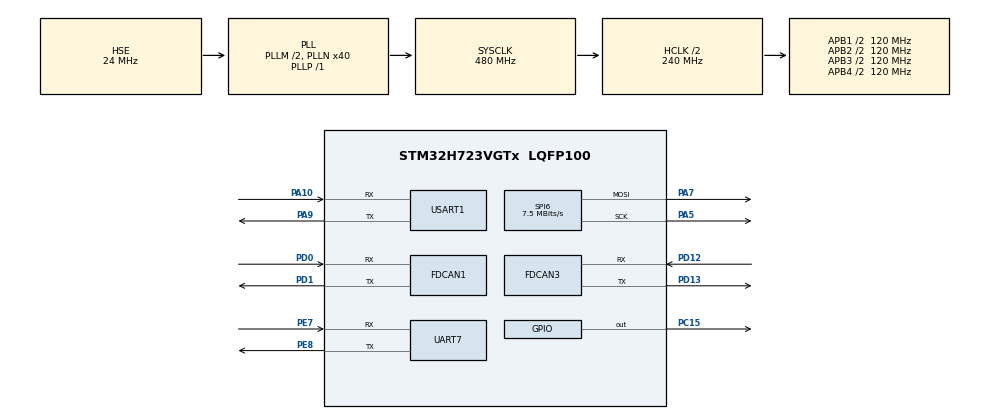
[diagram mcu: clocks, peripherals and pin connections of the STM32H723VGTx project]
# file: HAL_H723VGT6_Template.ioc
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Bdma.Request0=SPI6_TX
Bdma.RequestsNb=1
Bdma.SPI6_TX.0.Direction=DMA_MEMORY_TO_PERIPH
Bdma.SPI6_TX.0.EventEnable=DISABLE
Bdma.SPI6_TX.0.Instance=BDMA_Channel0
Bdma.SPI6_TX.0.MemDataAlignment=DMA_MDATAALIGN_BYTE
Bdma.SPI6_TX.0.MemInc=DMA_MINC_ENABLE
Bdma.SPI6_TX.0.Mode=DMA_NORMAL
Bdma.SPI6_TX.0.PeriphDataAlignment=DMA_PDATAALIGN_BYTE
Bdma.SPI6_TX.0.PeriphInc=DMA_PINC_DISABLE
Bdma.SPI6_TX.0.Polarity=HAL_DMAMUX_REQ_GEN_RISING
Bdma.SPI6_TX.0.Priority=DMA_PRIORITY_LOW
Bdma.SPI6_TX.0.RequestNumber=1
Bdma.SPI6_TX.0.SignalID=NONE
Bdma.SPI6_TX.0.SyncEnable=DISABLE
Bdma.SPI6_TX.0.SyncPolarity=HAL_DMAMUX_SYNC_NO_EVENT
Bdma.SPI6_TX.0.SyncRequestNumber=1
Bdma.SPI6_TX.0.SyncSignalID=NONE
CORTEX_M7.default_mode_Activation=1
Dma.Request0=USART1_RX
Dma.Request1=UART7_RX
Dma.UART7_RX.1.Direction=DMA_PERIPH_TO_MEMORY
Dma.UART7_RX.1.EventEnable=DISABLE
Dma.UART7_RX.1.FIFOMode=DMA_FIFOMODE_DISABLE
Dma.UART7_RX.1.Instance=DMA1_Stream1
Dma.UART7_RX.1.MemDataAlignment=DMA_MDATAALIGN_BYTE
Dma.UART7_RX.1.MemInc=DMA_MINC_ENABLE
Dma.UART7_RX.1.Mode=DMA_NORMAL
Dma.UART7_RX.1.PeriphDataAlignment=DMA_PDATAALIGN_BYTE
Dma.UART7_RX.1.PeriphInc=DMA_PINC_DISABLE
Dma.UART7_RX.1.Polarity=HAL_DMAMUX_REQ_GEN_RISING
Dma.UART7_RX.1.Priority=DMA_PRIORITY_LOW
Dma.UART7_RX.1.RequestNumber=1
Dma.UART7_RX.1.SignalID=NONE
Dma.UART7_RX.1.SyncEnable=DISABLE
Dma.UART7_RX.1.SyncPolarity=HAL_DMAMUX_SYNC_NO_EVENT
Dma.UART7_RX.1.SyncRequestNumber=1
Dma.UART7_RX.1.SyncSignalID=NONE
Dma.USART1_RX.0.Direction=DMA_PERIPH_TO_MEMORY
Dma.USART1_RX.0.EventEnable=DISABLE
Dma.USART1_RX.0.FIFOMode=DMA_FIFOMODE_DISABLE
Dma.USART1_RX.0.Instance=DMA1_Stream0
Dma.USART1_RX.0.MemDataAlignment=DMA_MDATAALIGN_BYTE
Dma.USART1_RX.0.MemInc=DMA_MINC_ENABLE
Dma.USART1_RX.0.Mode=DMA_NORMAL
Dma.USART1_RX.0.PeriphDataAlignment=DMA_PDATAALIGN_BYTE
Dma.USART1_RX.0.PeriphInc=DMA_PINC_DISABLE
Dma.USART1_RX.0.Polarity=HAL_DMAMUX_REQ_GEN_RISING
Dma.USART1_RX.0.Priority=DMA_PRIORITY_LOW
Dma.USART1_RX.0.RequestNumber=1
Dma.USART1_RX.0.SignalID=NONE
Dma.USART1_RX.0.SyncEnable=DISABLE
Dma.USART1_RX.0.SyncPolarity=HAL_DMAMUX_SYNC_NO_EVENT
Dma.USART1_RX.0.SyncRequestNumber=1
Dma.USART1_RX.0.SyncSignalID=NONE
FDCAN1.AutoRetransmission=ENABLE
FDCAN1.CalculateBaudRateNominal=1000000
FDCAN1.CalculateTimeBitNominal=1000
FDCAN1.CalculateTimeQuantumNominal=83.33333333333333
FDCAN1.NominalPrescaler=2
FDCAN1.NominalTimeSeg1=8
FDCAN1.NominalTimeSeg2=3
FDCAN1.RxFifo0ElmtsNbr=8
FDCAN1.StdFiltersNbr=1
FDCAN1.TxFifoQueueElmtsNbr=8
FDCAN3.AutoRetransmission=ENABLE
FDCAN3.CalculateBaudRateNominal=1000000
FDCAN3.CalculateTimeBitNominal=1000
FDCAN3.CalculateTimeQuantumNominal=83.33333333333333
FDCAN3.NominalPrescaler=2
FDCAN3.NominalTimeSeg1=8
FDCAN3.NominalTimeSeg2=3
FDCAN3.RxFifo0ElmtsNbr=8
FDCAN3.StdFiltersNbr=1
FDCAN3.TxFifoQueueElmtsNbr=8
Mcu.Family=STM32H7
Mcu.Name=STM32H723VGTx
Mcu.Package=LQFP100
NVIC.BDMA_Channel0_IRQn=true\:0\:0\:false\:false\:true\:false\:true\:true
NVIC.DMA1_Stream0_IRQn=true\:0\:0\:false\:false\:true\:false\:true\:true
NVIC.DMA1_Stream1_IRQn=true\:0\:0\:false\:false\:true\:false\:true\:true
NVIC.FDCAN1_IT0_IRQn=true\:1\:0\:true\:false\:true\:true\:true\:true
NVIC.FDCAN3_IT0_IRQn=true\:0\:0\:false\:false\:true\:true\:true\:true
NVIC.PriorityGroup=NVIC_PRIORITYGROUP_2
NVIC.SPI6_IRQn=true\:3\:3\:true\:false\:true\:false\:true\:true
NVIC.TIM4_IRQn=true\:0\:0\:false\:false\:true\:true\:true\:true
NVIC.UART7_IRQn=true\:0\:0\:false\:false\:true\:true\:true\:true
NVIC.USART1_IRQn=true\:2\:2\:true\:false\:true\:true\:true\:true
PA10.Mode=Asynchronous
PA10.Signal=USART1_RX
PA13(JTMS/SWDIO).Mode=Serial_Wire
PA13(JTMS/SWDIO).Signal=DEBUG_JTMS-SWDIO
PA14(JTCK/SWCLK).Mode=Serial_Wire
PA14(JTCK/SWCLK).Signal=DEBUG_JTCK-SWCLK
PA5.Mode=TX_Only_Simplex_Unidirect_Master
PA5.Signal=SPI6_SCK
PA7.Mode=TX_Only_Simplex_Unidirect_Master
PA7.Signal=SPI6_MOSI
PA9.Mode=Asynchronous
PA9.Signal=USART1_TX
PC15-OSC32_OUT.GPIO_PuPd=GPIO_PULLDOWN
PC15-OSC32_OUT.PinState=GPIO_PIN_RESET
PC15-OSC32_OUT.Signal=GPIO_Output
PD0.Mode=FDCAN_Activate
PD0.Signal=FDCAN1_RX
PD1.Mode=FDCAN_Activate
PD1.Signal=FDCAN1_TX
PD12.Mode=FDCAN_Activate
PD12.Signal=FDCAN3_RX
PD13.Mode=FDCAN_Activate
PD13.Signal=FDCAN3_TX
PE7.Mode=Asynchronous
PE7.Signal=UART7_RX
PE8.Mode=Asynchronous
PE8.Signal=UART7_TX
PH0-OSC_IN.Mode=HSE-External-Oscillator
PH0-OSC_IN.Signal=RCC_OSC_IN
PH1-OSC_OUT.Mode=HSE-External-Oscillator
PH1-OSC_OUT.Signal=RCC_OSC_OUT
ProjectManager.HeapSize=0x200
ProjectManager.StackSize=0x400
ProjectManager.TargetToolchain=MDK-ARM V5.32
RCC.ADCFreq_Value=48375000
RCC.APB1Freq_Value=120000000
RCC.APB2Freq_Value=120000000
RCC.APB3Freq_Value=120000000
RCC.APB4Freq_Value=120000000
RCC.CortexFreq_Value=480000000
RCC.D1PPRE=RCC_APB3_DIV2
RCC.D2PPRE1=RCC_APB1_DIV2
RCC.D2PPRE2=RCC_APB2_DIV2
RCC.D3PPRE=RCC_APB4_DIV2
RCC.DIVM1=2
RCC.DIVN1=40
RCC.DIVP1=1
RCC.FDCANCLockSelection=RCC_FDCANCLKSOURCE_HSE
RCC.HCLKFreq_Value=240000000
RCC.HPRE=RCC_HCLK_DIV2
RCC.HSE_VALUE=24000000
RCC.PLLFRACN=0
RCC.PLLSourceVirtual=RCC_PLLSOURCE_HSE
RCC.SYSCLKFreq_VALUE=480000000
RCC.SYSCLKSource=RCC_SYSCLKSOURCE_PLLCLK
RCC.USBFreq_Value=240000000
SPI6.BaudRatePrescaler=SPI_BAUDRATEPRESCALER_16
SPI6.CLKPhase=SPI_PHASE_2EDGE
SPI6.CalculateBaudRate=7.5 MBits/s
SPI6.DataSize=SPI_DATASIZE_8BIT
SPI6.Direction=SPI_DIRECTION_2LINES_TXONLY
SPI6.Mode=SPI_MODE_MASTER
SPI6.NSSPMode=SPI_NSS_PULSE_DISABLE
SPI6.VirtualType=VM_MASTER
TIM4.AutoReloadPreload=TIM_AUTORELOAD_PRELOAD_ENABLE
TIM4.Period=999
TIM4.Prescaler=239
USART1.VirtualMode-Asynchronous=VM_ASYNC
VP_MEMORYMAP_VS_MEMORYMAP.Mode=CurAppReg
VP_TIM4_VS_ClockSourceINT.Mode=Internal
board=custom

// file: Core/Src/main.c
/* USER CODE BEGIN Header */
/**
  ******************************************************************************
  * @file           : main.c
  * @brief          : Main program body
  ******************************************************************************
  * @attention
  *
  * Copyright (c) 2026 STMicroelectronics.
  * All rights reserved.
  *
  * This software is licensed under terms that can be found in the LICENSE file
  * in the root directory of this software component.
  * If no LICENSE file comes with this software, it is provided AS-IS.
  *
  ******************************************************************************
  */
/* USER CODE END Header */
#include "main.h"

/* USER CODE BEGIN Includes */
#include <stdlib.h>
#include <stdio.h>
#include "2812LED.h"
#include "CAN.h"
#include "Time.h"
#include "DM_BLDC_Motor.h"
#include "UART_Data.h"
#include "FourMotor_Coordination.h"
#include "DM_IMU_L1_V1.0.h"
#include "Chassis.h"
#include "Attitude.h"
#include "Nav.h"
#include "Debug.h"

/* USER CODE END Includes */

FDCAN_HandleTypeDef hfdcan1;
FDCAN_HandleTypeDef hfdcan3;

SPI_HandleTypeDef hspi6;
DMA_HandleTypeDef hdma_spi6_tx;

TIM_HandleTypeDef htim4;

UART_HandleTypeDef huart7;
UART_HandleTypeDef huart1;
DMA_HandleTypeDef hdma_uart7_rx;
DMA_HandleTypeDef hdma_usart1_rx;

void SystemClock_Config(void);
static void MPU_Config(void);
static void MX_GPIO_Init(void);
static void MX_BDMA_Init(void);
static void MX_DMA_Init(void);
static void MX_SPI6_Init(void);
static void MX_FDCAN1_Init(void);
static void MX_USART1_UART_Init(void);
static void MX_TIM4_Init(void);
static void MX_FDCAN3_Init(void);
static void MX_UART7_Init(void);

int main(void)
{

  /* MPU Configuration--------------------------------------------------------*/
  MPU_Config();

  /* MCU Configuration--------------------------------------------------------*/

  /* Reset of all peripherals, Initializes the Flash interface and the Systick. */
  HAL_Init();

  /* Configure the system clock */
  SystemClock_Config();

  /* Initialize all configured peripherals */
  MX_GPIO_Init();
  MX_BDMA_Init();
  MX_DMA_Init();
  MX_SPI6_Init();
  MX_FDCAN1_Init();
  MX_USART1_UART_Init();
  MX_TIM4_Init();
  MX_FDCAN3_Init();
  MX_UART7_Init();
  /* USER CODE BEGIN 2 */
	//电机初始化
	DM_CAN_Motor_Init();
	DM_IMU_Init();

	//底盘 / 姿态 / 导航 / 调试 初始化
	Chassis_Init();
	Attitude_Init();
	Nav_Init();
	Debug_Init();
	UART_Init();

	//外部VCC供电
	HAL_GPIO_WritePin(GPIOC,GPIO_PIN_15,GPIO_PIN_SET);

	//静止标定陀螺 z 轴零偏 (这 400ms 车必须完全不动)
	Attitude_Calibrate(400);

	//开 1ms 节拍, 之后 5ms 控制自动跑
	Time_Init();

	//电机失能
	DM_CAN_Motor_SetEnable(DM_Motor_4310P_ID,DM_Mototr_Disable);
	DM_CAN_Motor_SetEnable(DM_Motor_4310_ID,DM_Mototr_Disable);
	DM_CAN_Motor_SetEnable(DM_Motor_4310P_Next_ID,DM_Mototr_Disable);
	DM_CAN_Motor_SetEnable(DM_Motor_4310_Next_ID,DM_Mototr_Disable);
	DM_CAN_Motor_SetEnable(DM_Motor_4340_Yaw_ID,DM_Mototr_Disable);
	HAL_Delay(1000);
	//电机使能
	DM_CAN_Motor_SetEnable(DM_Motor_4310P_ID,DM_Mototr_Enable);
	DM_CAN_Motor_SetEnable(DM_Motor_4310_ID,DM_Mototr_Enable);
	DM_CAN_Motor_SetEnable(DM_Motor_4310P_Next_ID,DM_Mototr_Enable);
	DM_CAN_Motor_SetEnable(DM_Motor_4310_Next_ID,DM_Mototr_Enable);
	DM_CAN_Motor_SetEnable(DM_Motor_4340_Yaw_ID,DM_Mototr_Enable);

	//位姿置到下方启停区中心 (row45,col45), 上电时车头须朝地图上方(+y)
	Nav_ResetPose(45, 45);

	printf("\r\n# 工创小车底盘就绪, 输入 ? 看命令\r\n");
  /* USER CODE END 2 */

  /* Infinite loop */
  /* USER CODE BEGIN WHILE */
	while (1)
	{
		Debug_Task();
    /* USER CODE END WHILE */

  }
}

void SystemClock_Config(void)
{
  RCC_OscInitTypeDef RCC_OscInitStruct = {0};
  RCC_ClkInitTypeDef RCC_ClkInitStruct = {0};

  /** Supply configuration update enable
  */
  HAL_PWREx_ConfigSupply(PWR_LDO_SUPPLY);

  /** Configure the main internal regulator output voltage
  */
  __HAL_PWR_VOLTAGESCALING_CONFIG(PWR_REGULATOR_VOLTAGE_SCALE0);

  while(!__HAL_PWR_GET_FLAG(PWR_FLAG_VOSRDY)) {}

  /** Initializes the RCC Oscillators according to the specified parameters
  * in the RCC_OscInitTypeDef structure.
  */
  RCC_OscInitStruct.OscillatorType = RCC_OSCILLATORTYPE_HSE;
  RCC_OscInitStruct.HSEState = RCC_HSE_ON;
  RCC_OscInitStruct.PLL.PLLState = RCC_PLL_ON;
  RCC_OscInitStruct.PLL.PLLSource = RCC_PLLSOURCE_HSE;
  RCC_OscInitStruct.PLL.PLLM = 2;
  RCC_OscInitStruct.PLL.PLLN = 40;
  RCC_OscInitStruct.PLL.PLLP = 1;
  RCC_OscInitStruct.PLL.PLLQ = 2;
  RCC_OscInitStruct.PLL.PLLR = 2;
  RCC_OscInitStruct.PLL.PLLRGE = RCC_PLL1VCIRANGE_3;
  RCC_OscInitStruct.PLL.PLLVCOSEL = RCC_PLL1VCOWIDE;
  RCC_OscInitStruct.PLL.PLLFRACN = 0;
  if (HAL_RCC_OscConfig(&RCC_OscInitStruct) != HAL_OK)
  {
    Error_Handler();
  }

  /** Initializes the CPU, AHB and APB buses clocks
  */
  RCC_ClkInitStruct.ClockType = RCC_CLOCKTYPE_HCLK|RCC_CLOCKTYPE_SYSCLK
                              |RCC_CLOCKTYPE_PCLK1|RCC_CLOCKTYPE_PCLK2
                              |RCC_CLOCKTYPE_D3PCLK1|RCC_CLOCKTYPE_D1PCLK1;
  RCC_ClkInitStruct.SYSCLKSource = RCC_SYSCLKSOURCE_PLLCLK;
  RCC_ClkInitStruct.SYSCLKDivider = RCC_SYSCLK_DIV1;
  RCC_ClkInitStruct.AHBCLKDivider = RCC_HCLK_DIV2;
  RCC_ClkInitStruct.APB3CLKDivider = RCC_APB3_DIV2;
  RCC_ClkInitStruct.APB1CLKDivider = RCC_APB1_DIV2;
  RCC_ClkInitStruct.APB2CLKDivider = RCC_APB2_DIV2;
  RCC_ClkInitStruct.APB4CLKDivider = RCC_APB4_DIV2;

  if (HAL_RCC_ClockConfig(&RCC_ClkInitStruct, FLASH_LATENCY_3) != HAL_OK)
  {
    Error_Handler();
  }
}

static void MX_FDCAN1_Init(void)
{

  hfdcan1.Instance = FDCAN1;
  hfdcan1.Init.FrameFormat = FDCAN_FRAME_CLASSIC;
  hfdcan1.Init.Mode = FDCAN_MODE_NORMAL;
  hfdcan1.Init.AutoRetransmission = ENABLE;
  hfdcan1.Init.TransmitPause = DISABLE;
  hfdcan1.Init.ProtocolException = DISABLE;
  hfdcan1.Init.NominalPrescaler = 2;
  hfdcan1.Init.NominalSyncJumpWidth = 1;
  hfdcan1.Init.NominalTimeSeg1 = 8;
  hfdcan1.Init.NominalTimeSeg2 = 3;
  hfdcan1.Init.DataPrescaler = 1;
  hfdcan1.Init.DataSyncJumpWidth = 1;
  hfdcan1.Init.DataTimeSeg1 = 1;
  hfdcan1.Init.DataTimeSeg2 = 1;
  hfdcan1.Init.MessageRAMOffset = 0;
  hfdcan1.Init.StdFiltersNbr = 1;
  hfdcan1.Init.ExtFiltersNbr = 0;
  hfdcan1.Init.RxFifo0ElmtsNbr = 8;
  hfdcan1.Init.RxFifo0ElmtSize = FDCAN_DATA_BYTES_8;
  hfdcan1.Init.RxFifo1ElmtsNbr = 0;
  hfdcan1.Init.RxFifo1ElmtSize = FDCAN_DATA_BYTES_8;
  hfdcan1.Init.RxBuffersNbr = 0;
  hfdcan1.Init.RxBufferSize = FDCAN_DATA_BYTES_8;
  hfdcan1.Init.TxEventsNbr = 0;
  hfdcan1.Init.TxBuffersNbr = 0;
  hfdcan1.Init.TxFifoQueueElmtsNbr = 8;
  hfdcan1.Init.TxFifoQueueMode = FDCAN_TX_FIFO_OPERATION;
  hfdcan1.Init.TxElmtSize = FDCAN_DATA_BYTES_8;
  if (HAL_FDCAN_Init(&hfdcan1) != HAL_OK)
  {
    Error_Handler();
  }
  /* USER CODE BEGIN FDCAN1_Init 2 */
	//过滤器配置
	HAL_FDCAN_ConfigGlobalFilter(&hfdcan1, FDCAN_ACCEPT_IN_RX_FIFO0, FDCAN_ACCEPT_IN_RX_FIFO0, FDCAN_REJECT, FDCAN_REJECT);
  //启动FDCAN外设
	HAL_FDCAN_Start(&hfdcan1);
	//开启中断接收
  HAL_FDCAN_ActivateNotification(&hfdcan1, FDCAN_IT_RX_FIFO0_NEW_MESSAGE, 0);

  /* USER CODE END FDCAN1_Init 2 */

}

static void MX_FDCAN3_Init(void)
{

  hfdcan3.Instance = FDCAN3;
  hfdcan3.Init.FrameFormat = FDCAN_FRAME_CLASSIC;
  hfdcan3.Init.Mode = FDCAN_MODE_NORMAL;
  hfdcan3.Init.AutoRetransmission = ENABLE;
  hfdcan3.Init.TransmitPause = DISABLE;
  hfdcan3.Init.ProtocolException = DISABLE;
  hfdcan3.Init.NominalPrescaler = 2;
  hfdcan3.Init.NominalSyncJumpWidth = 1;
  hfdcan3.Init.NominalTimeSeg1 = 8;
  hfdcan3.Init.NominalTimeSeg2 = 3;
  hfdcan3.Init.DataPrescaler = 1;
  hfdcan3.Init.DataSyncJumpWidth = 1;
  hfdcan3.Init.DataTimeSeg1 = 1;
  hfdcan3.Init.DataTimeSeg2 = 1;
  hfdcan3.Init.MessageRAMOffset = 0;
  hfdcan3.Init.StdFiltersNbr = 1;
  hfdcan3.Init.ExtFiltersNbr = 0;
  hfdcan3.Init.RxFifo0ElmtsNbr = 8;
  hfdcan3.Init.RxFifo0ElmtSize = FDCAN_DATA_BYTES_8;
  hfdcan3.Init.RxFifo1ElmtsNbr = 0;
  hfdcan3.Init.RxFifo1ElmtSize = FDCAN_DATA_BYTES_8;
  hfdcan3.Init.RxBuffersNbr = 0;
  hfdcan3.Init.RxBufferSize = FDCAN_DATA_BYTES_8;
  hfdcan3.Init.TxEventsNbr = 0;
  hfdcan3.Init.TxBuffersNbr = 0;
  hfdcan3.Init.TxFifoQueueElmtsNbr = 8;
  hfdcan3.Init.TxFifoQueueMode = FDCAN_TX_FIFO_OPERATION;
  hfdcan3.Init.TxElmtSize = FDCAN_DATA_BYTES_8;
  if (HAL_FDCAN_Init(&hfdcan3) != HAL_OK)
  {
    Error_Handler();
  }
  /* USER CODE BEGIN FDCAN3_Init 2 */
	//过滤器配置
	HAL_FDCAN_ConfigGlobalFilter(&hfdcan3, FDCAN_ACCEPT_IN_RX_FIFO0, FDCAN_ACCEPT_IN_RX_FIFO0, FDCAN_REJECT, FDCAN_REJECT);
  //启动FDCAN外设
	HAL_FDCAN_Start(&hfdcan3);
	//开启中断接收
  HAL_FDCAN_ActivateNotification(&hfdcan3, FDCAN_IT_RX_FIFO0_NEW_MESSAGE, 0);

  /* USER CODE END FDCAN3_Init 2 */

}

static void MX_SPI6_Init(void)
{

  /* SPI6 parameter configuration*/
  hspi6.Instance = SPI6;
  hspi6.Init.Mode = SPI_MODE_MASTER;
  hspi6.Init.Direction = SPI_DIRECTION_2LINES_TXONLY;
  hspi6.Init.DataSize = SPI_DATASIZE_8BIT;
  hspi6.Init.CLKPolarity = SPI_POLARITY_LOW;
  hspi6.Init.CLKPhase = SPI_PHASE_2EDGE;
  hspi6.Init.NSS = SPI_NSS_SOFT;
  hspi6.Init.BaudRatePrescaler = SPI_BAUDRATEPRESCALER_16;
  hspi6.Init.FirstBit = SPI_FIRSTBIT_MSB;
  hspi6.Init.TIMode = SPI_TIMODE_DISABLE;
  hspi6.Init.CRCCalculation = SPI_CRCCALCULATION_DISABLE;
  hspi6.Init.CRCPolynomial = 0x0;
  hspi6.Init.NSSPMode = SPI_NSS_PULSE_DISABLE;
  hspi6.Init.NSSPolarity = SPI_NSS_POLARITY_LOW;
  hspi6.Init.FifoThreshold = SPI_FIFO_THRESHOLD_01DATA;
  hspi6.Init.TxCRCInitializationPattern = SPI_CRC_INITIALIZATION_ALL_ZERO_PATTERN;
  hspi6.Init.RxCRCInitializationPattern = SPI_CRC_INITIALIZATION_ALL_ZERO_PATTERN;
  hspi6.Init.MasterSSIdleness = SPI_MASTER_SS_IDLENESS_00CYCLE;
  hspi6.Init.MasterInterDataIdleness = SPI_MASTER_INTERDATA_IDLENESS_00CYCLE;
  hspi6.Init.MasterReceiverAutoSusp = SPI_MASTER_RX_AUTOSUSP_DISABLE;
  hspi6.Init.MasterKeepIOState = SPI_MASTER_KEEP_IO_STATE_DISABLE;
  hspi6.Init.IOSwap = SPI_IO_SWAP_DISABLE;
  if (HAL_SPI_Init(&hspi6) != HAL_OK)
  {
    Error_Handler();
  }

}

static void MX_TIM4_Init(void)
{

  TIM_ClockConfigTypeDef sClockSourceConfig = {0};
  TIM_MasterConfigTypeDef sMasterConfig = {0};

  htim4.Instance = TIM4;
  htim4.Init.Prescaler = 239;
  htim4.Init.CounterMode = TIM_COUNTERMODE_UP;
  htim4.Init.Period = 999;
  htim4.Init.ClockDivision = TIM_CLOCKDIVISION_DIV1;
  htim4.Init.AutoReloadPreload = TIM_AUTORELOAD_PRELOAD_ENABLE;
  if (HAL_TIM_Base_Init(&htim4) != HAL_OK)
  {
    Error_Handler();
  }
  sClockSourceConfig.ClockSource = TIM_CLOCKSOURCE_INTERNAL;
  if (HAL_TIM_ConfigClockSource(&htim4, &sClockSourceConfig) != HAL_OK)
  {
    Error_Handler();
  }
  sMasterConfig.MasterOutputTrigger = TIM_TRGO_RESET;
  sMasterConfig.MasterSlaveMode = TIM_MASTERSLAVEMODE_DISABLE;
  if (HAL_TIMEx_MasterConfigSynchronization(&htim4, &sMasterConfig) != HAL_OK)
  {
    Error_Handler();
  }

}

static void MX_UART7_Init(void)
{

  huart7.Instance = UART7;
  huart7.Init.BaudRate = 115200;
  huart7.Init.WordLength = UART_WORDLENGTH_8B;
  huart7.Init.StopBits = UART_STOPBITS_1;
  huart7.Init.Parity = UART_PARITY_NONE;
  huart7.Init.Mode = UART_MODE_TX_RX;
  huart7.Init.HwFlowCtl = UART_HWCONTROL_NONE;
  huart7.Init.OverSampling = UART_OVERSAMPLING_16;
  huart7.Init.OneBitSampling = UART_ONE_BIT_SAMPLE_DISABLE;
  huart7.Init.ClockPrescaler = UART_PRESCALER_DIV1;
  huart7.AdvancedInit.AdvFeatureInit = UART_ADVFEATURE_NO_INIT;
  if (HAL_UART_Init(&huart7) != HAL_OK)
  {
    Error_Handler();
  }
  if (HAL_UARTEx_SetTxFifoThreshold(&huart7, UART_TXFIFO_THRESHOLD_1_8) != HAL_OK)
  {
    Error_Handler();
  }
  if (HAL_UARTEx_SetRxFifoThreshold(&huart7, UART_RXFIFO_THRESHOLD_1_8) != HAL_OK)
  {
    Error_Handler();
  }
  if (HAL_UARTEx_DisableFifoMode(&huart7) != HAL_OK)
  {
    Error_Handler();
  }

}

static void MX_USART1_UART_Init(void)
{

  huart1.Instance = USART1;
  huart1.Init.BaudRate = 115200;
  huart1.Init.WordLength = UART_WORDLENGTH_8B;
  huart1.Init.StopBits = UART_STOPBITS_1;
  huart1.Init.Parity = UART_PARITY_NONE;
  huart1.Init.Mode = UART_MODE_TX_RX;
  huart1.Init.HwFlowCtl = UART_HWCONTROL_NONE;
  huart1.Init.OverSampling = UART_OVERSAMPLING_16;
  huart1.Init.OneBitSampling = UART_ONE_BIT_SAMPLE_DISABLE;
  huart1.Init.ClockPrescaler = UART_PRESCALER_DIV1;
  huart1.AdvancedInit.AdvFeatureInit = UART_ADVFEATURE_NO_INIT;
  if (HAL_UART_Init(&huart1) != HAL_OK)
  {
    Error_Handler();
  }
  if (HAL_UARTEx_SetTxFifoThreshold(&huart1, UART_TXFIFO_THRESHOLD_1_8) != HAL_OK)
  {
    Error_Handler();
  }
  if (HAL_UARTEx_SetRxFifoThreshold(&huart1, UART_RXFIFO_THRESHOLD_1_8) != HAL_OK)
  {
    Error_Handler();
  }
  if (HAL_UARTEx_DisableFifoMode(&huart1) != HAL_OK)
  {
    Error_Handler();
  }

}

static void MX_BDMA_Init(void)
{

  /* DMA controller clock enable */
  __HAL_RCC_BDMA_CLK_ENABLE();

  /* DMA interrupt init */
  /* BDMA_Channel0_IRQn interrupt configuration */
  HAL_NVIC_SetPriority(BDMA_Channel0_IRQn, 0, 0);
  HAL_NVIC_EnableIRQ(BDMA_Channel0_IRQn);

}

static void MX_DMA_Init(void)
{

  /* DMA controller clock enable */
  __HAL_RCC_DMA1_CLK_ENABLE();

  /* DMA interrupt init */
  /* DMA1_Stream0_IRQn interrupt configuration */
  HAL_NVIC_SetPriority(DMA1_Stream0_IRQn, 0, 0);
  HAL_NVIC_EnableIRQ(DMA1_Stream0_IRQn);
  /* DMA1_Stream1_IRQn interrupt configuration */
  HAL_NVIC_SetPriority(DMA1_Stream1_IRQn, 0, 0);
  HAL_NVIC_EnableIRQ(DMA1_Stream1_IRQn);

}

static void MX_GPIO_Init(void)
{
  GPIO_InitTypeDef GPIO_InitStruct = {0};

  /* GPIO Ports Clock Enable */
  __HAL_RCC_GPIOC_CLK_ENABLE();
  __HAL_RCC_GPIOH_CLK_ENABLE();
  __HAL_RCC_GPIOA_CLK_ENABLE();
  __HAL_RCC_GPIOE_CLK_ENABLE();
  __HAL_RCC_GPIOD_CLK_ENABLE();

  /*Configure GPIO pin Output Level */
  HAL_GPIO_WritePin(GPIOC, GPIO_PIN_15, GPIO_PIN_RESET);

  /*Configure GPIO pin : PC15 */
  GPIO_InitStruct.Pin = GPIO_PIN_15;
  GPIO_InitStruct.Mode = GPIO_MODE_OUTPUT_PP;
  GPIO_InitStruct.Pull = GPIO_PULLDOWN;
  GPIO_InitStruct.Speed = GPIO_SPEED_FREQ_LOW;
  HAL_GPIO_Init(GPIOC, &GPIO_InitStruct);

}

 /* MPU Configuration */

void MPU_Config(void)
{
  MPU_Region_InitTypeDef MPU_InitStruct = {0};

  /* Disables the MPU */
  HAL_MPU_Disable();

  /** Initializes and configures the Region and the memory to be protected
  */
  MPU_InitStruct.Enable = MPU_REGION_ENABLE;
  MPU_InitStruct.Number = MPU_REGION_NUMBER0;
  MPU_InitStruct.BaseAddress = 0x0;
  MPU_InitStruct.Size = MPU_REGION_SIZE_4GB;
  MPU_InitStruct.SubRegionDisable = 0x87;
  MPU_InitStruct.TypeExtField = MPU_TEX_LEVEL0;
  MPU_InitStruct.AccessPermission = MPU_REGION_NO_ACCESS;
  MPU_InitStruct.DisableExec = MPU_INSTRUCTION_ACCESS_DISABLE;
  MPU_InitStruct.IsShareable = MPU_ACCESS_SHAREABLE;
  MPU_InitStruct.IsCacheable = MPU_ACCESS_NOT_CACHEABLE;
  MPU_InitStruct.IsBufferable = MPU_ACCESS_NOT_BUFFERABLE;

  HAL_MPU_ConfigRegion(&MPU_InitStruct);
  /* Enables the MPU */
  HAL_MPU_Enable(MPU_PRIVILEGED_DEFAULT);

}

void Error_Handler(void)
{
  __disable_irq();
  while (1)
  {
  }
}
